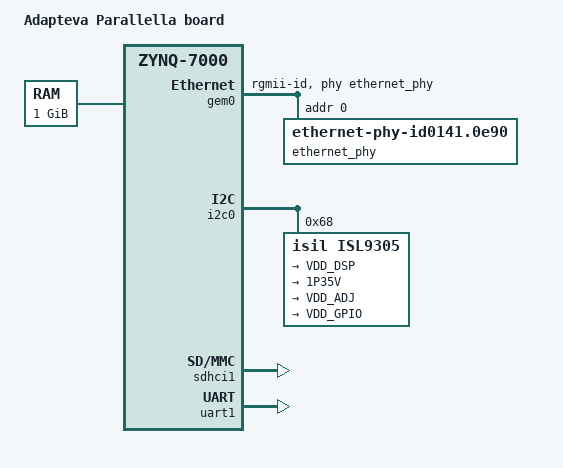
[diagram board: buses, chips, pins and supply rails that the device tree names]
// SPDX-License-Identifier: GPL-2.0
/*
 * Copyright (c) 2014 SUSE LINUX Products GmbH
 *
 * Derived from zynq-zed.dts:
 *
 *  Copyright (C) 2011 Xilinx
 *  Copyright (C) 2012 National Instruments Corp.
 *  Copyright (C) 2013 Xilinx
 */
/dts-v1/;
/include/ "zynq-7000.dtsi"

/ {
	model = "Adapteva Parallella board";
	compatible = "adapteva,parallella", "xlnx,zynq-7000";

	aliases {
		ethernet0 = &gem0;
		serial0 = &uart1;
	};

	memory@0 {
		device_type = "memory";
		reg = <0x0 0x40000000>;
	};

	chosen {
		bootargs = "root=/dev/mmcblk0p2 rootfstype=ext4 rw rootwait";
		stdout-path = "serial0:115200n8";
	};
};

&clkc {
	fclk-enable = <0xf>;
	ps-clk-frequency = <33333333>;
};

&gem0 {
	status = "okay";
	phy-mode = "rgmii-id";
	phy-handle = <&ethernet_phy>;

	ethernet_phy: ethernet-phy@0 {
		/* Marvell 88E1318 */
		compatible = "ethernet-phy-id0141.0e90",
		             "ethernet-phy-ieee802.3-c22";
		reg = <0>;
		marvell,reg-init = <0x3 0x10 0xff00 0x1e>,
		                   <0x3 0x11 0xfff0 0xa>;
	};
};

&i2c0 {
	status = "okay";

	isl9305: isl9305@68 {
		compatible = "isil,isl9305";
		reg = <0x68>;

		regulators {
			dcd1 {
				regulator-name = "VDD_DSP";
				regulator-always-on;
			};
			dcd2 {
				regulator-name = "1P35V";
				regulator-always-on;
			};
			ldo1 {
				regulator-name = "VDD_ADJ";
			};
			ldo2 {
				regulator-name = "VDD_GPIO";
				regulator-always-on;
			};
		};
	};
};

&sdhci1 {
	status = "okay";
};

&uart1 {
	status = "okay";
};
